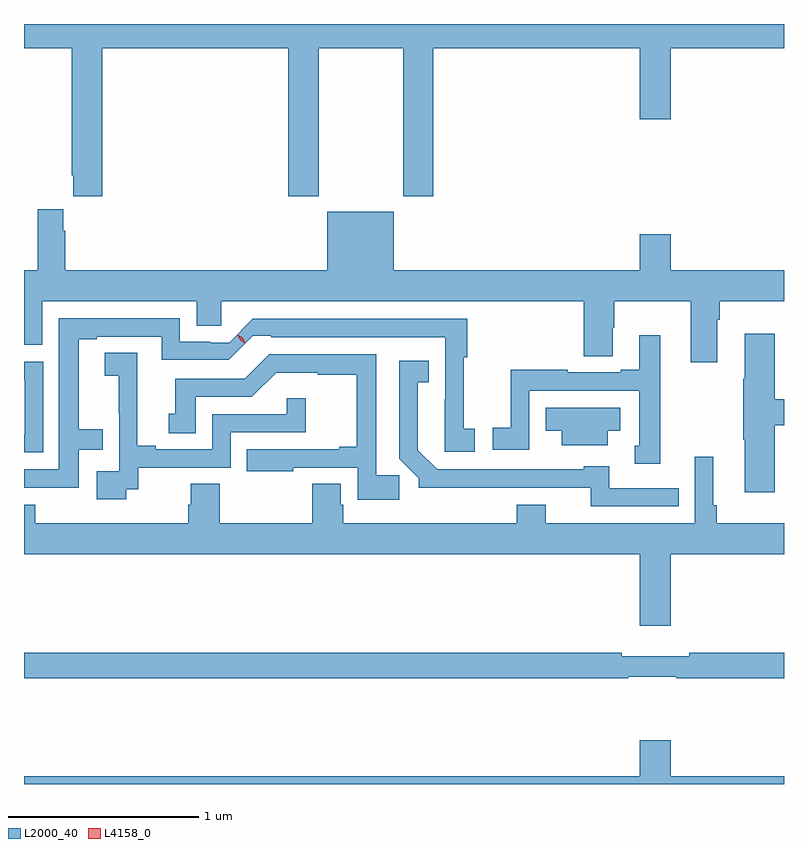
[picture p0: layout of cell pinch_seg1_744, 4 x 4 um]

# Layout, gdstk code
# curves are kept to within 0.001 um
import gdstk
lib = gdstk.Library(unit=1e-6, precision=1e-09)
def P(c, l, *ps):  # polygons
    for p in ps: c.add(gdstk.Polygon(p, *l))
L2000_40 = (2000, 40)
L4158_0 = (4158, 0)

pinch_seg1_744 = lib.new_cell('pinch_seg1_744')
P(pinch_seg1_744, L2000_40, [(869.471,506.444),(870.449,506.444),(870.449,505.665),(870.609,505.665),(870.609,506.444),(871.054,506.444),(871.054,505.665),(871.214,505.665),(871.214,506.444),(872.3,506.444),(872.3,506.07),(872.464,506.07),(872.464,506.444),(873.059,506.444),(873.059,506.572),(869.059,506.572),(869.059,506.444),(869.311,506.444),(869.311,505.777),(869.317,505.777),(869.317,505.665),(869.471,505.665)],
  [(872.707,505.016),(872.72,505.016),(872.72,505.112),(873.059,505.112),(873.059,505.276),(872.464,505.276),(872.464,505.465),(872.3,505.465),(872.3,505.276),(871.006,505.276),(871.006,505.585),(870.656,505.585),(870.656,505.276),(869.276,505.276),(869.276,505.484),(869.266,505.484),(869.266,505.597),(869.132,505.597),(869.132,505.276),(869.059,505.276),(869.059,504.884),(869.155,504.884),(869.155,505.112),(869.969,505.112),(869.969,504.985),(870.096,504.985),(870.096,505.112),(872.006,505.112),(872.006,504.823),(872.158,504.823),(872.158,504.974),(872.166,504.974),(872.166,505.112),(872.567,505.112),(872.567,504.792),(872.707,504.792)],
  [(869.347,504.33),(869.474,504.33),(869.474,504.439),(869.347,504.439),(869.347,504.912),(869.443,504.912),(869.443,504.927),(869.784,504.927),(869.784,504.804),(870.136,504.804),(870.262,504.93),(870.359,504.93),(870.359,504.924),(871.275,504.924),(871.274,504.321),(871.432,504.321),(871.432,504.441),(871.374,504.441),(871.374,504.817),(871.391,504.817),(871.391,505.02),(870.264,505.02),(870.138,504.894),(870.039,504.894),(870.039,504.9),(869.88,504.9),(869.88,505.023),(869.243,505.023),(869.243,504.228),(869.059,504.228),(869.059,504.132),(869.347,504.132)],
  [(873.011,504.46),(873.059,504.46),(873.059,504.596),(873.011,504.596),(873.011,504.943),(872.852,504.943),(872.852,504.704),(872.845,504.704),(872.845,504.383),(872.852,504.383),(872.852,504.108),(873.011,504.108)],
  [(872.407,504.934),(872.297,504.934),(872.297,504.751),(872.201,504.751),(872.201,504.738),(871.922,504.738),(871.922,504.751),(871.621,504.751),(871.621,504.446),(871.527,504.446),(871.527,504.33),(871.719,504.33),(871.719,504.642),(872.298,504.642),(872.298,504.351),(872.273,504.351),(872.273,504.257),(872.407,504.257)],
  [(869.598,504.123),(869.66,504.123),(869.66,504.237),(870.147,504.237),(870.147,504.423),(870.542,504.423),(870.542,504.601),(870.441,504.601),(870.441,504.519),(870.051,504.519),(870.051,504.333),(869.752,504.333),(869.752,504.353),(869.656,504.353),(869.656,504.731),(869.654,504.731),(869.654,504.842),(869.484,504.842),(869.484,504.721),(869.558,504.721),(869.558,504.523),(869.559,504.523),(869.559,504.219),(869.442,504.219),(869.442,504.072),(869.598,504.072)],
  [(871.035,504.198),(870.912,504.198),(870.912,504.834),(870.351,504.834),(870.222,504.705),(869.855,504.705),(869.855,504.522),(869.822,504.522),(869.822,504.418),(869.962,504.418),(869.962,504.609),(870.258,504.609),(870.386,504.737),(870.605,504.737),(870.605,504.726),(870.811,504.726),(870.811,504.346),(870.719,504.346),(870.719,504.333),(870.232,504.333),(870.232,504.218),(870.475,504.218),(870.475,504.237),(870.816,504.237),(870.816,504.068),(871.035,504.068)],
  [(872.504,504.129),(872.14,504.129),(872.14,504.244),(872.004,504.244),(872.004,504.228),(871.233,504.228),(871.132,504.329),(871.132,504.686),(871.19,504.686),(871.19,504.799),(871.035,504.799),(871.035,504.284),(871.137,504.182),(871.137,504.131),(872.041,504.132),(872.041,504.033),(872.504,504.033)],
  [(869.16,504.795),(869.059,504.795),(869.059,504.699),(869.064,504.699),(869.064,504.414),(869.059,504.414),(869.059,504.318),(869.16,504.318)],
  [(872.131,504.431),(872.197,504.431),(872.197,504.553),(871.804,504.553),(871.804,504.431),(871.889,504.431),(871.889,504.356),(872.131,504.356)],
  [(872.464,503.78),(873.059,503.78),(873.059,503.944),(872.705,503.944),(872.705,504.04),(872.686,504.04),(872.686,504.295),(872.589,504.295),(872.589,503.944),(871.804,503.944),(871.804,504.043),(871.652,504.043),(871.652,503.944),(870.739,503.944),(870.739,504.042),(870.727,504.042),(870.727,504.152),(870.575,504.152),(870.575,503.944),(870.089,503.944),(870.089,504.152),(869.936,504.152),(869.936,504.042),(869.924,504.042),(869.924,503.944),(869.117,503.944),(869.117,504.043),(869.059,504.043),(869.059,503.78),(872.3,503.78),(872.3,503.406),(872.464,503.406)],
  [(872.24,503.136),(872.493,503.136),(872.493,503.128),(873.059,503.128),(873.059,503.264),(872.56,503.264),(872.56,503.245),(872.204,503.245),(872.204,503.264),(869.059,503.264),(869.059,503.128),(872.24,503.128)],
  [(873.059,502.612),(872.464,502.612),(872.464,502.801),(872.3,502.801),(872.3,502.612),(869.059,502.612),(869.059,502.572),(873.059,502.572)])
P(pinch_seg1_744, L4158_0, [(870.222,504.893),(870.196,504.908),(870.185,504.936),(870.185,504.936),(870.185,504.936),(870.211,504.921),(870.223,504.893),(870.223,504.893)])

lib.write_gds('pinch_seg1_744.gds')
